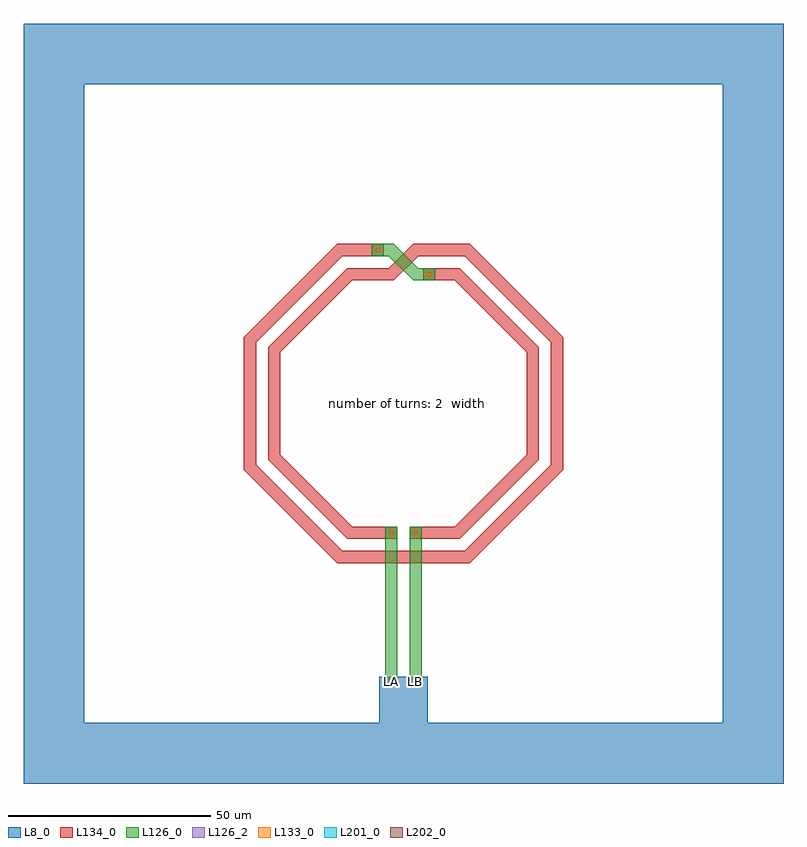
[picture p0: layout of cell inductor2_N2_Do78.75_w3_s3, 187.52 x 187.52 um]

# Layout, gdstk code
import gdstk
lib = gdstk.Library(unit=1e-6, precision=1e-09)
def R(c, l, rs):  # rectangles x0, y0, x1, y1
    for r in rs: c.add(gdstk.rectangle(r[:2], r[2:], *l))
def P(c, l, *ps):  # polygons
    for p in ps: c.add(gdstk.Polygon(p, *l))
L8_0 = (8, 0)
L126_0 = (126, 0)
L126_2 = (126, 2)
L133_0 = (133, 0)
L134_0 = (134, 0)
L201_0 = (201, 0)
L202_0 = (202, 0)

inductor2_n2_do78_75_w3_ = lib.new_cell('inductor2_N2_Do78.75_w3_s3')
R(inductor2_n2_do78_75_w3_, L8_0, [(-93.76,-93.76,-78.76,93.76), (-78.76,-93.76,78.76,-78.76), (78.76,-93.76,93.76,93.76), (-6,-78.76,6,-67.38), (-78.76,78.76,78.76,93.76)])
R(inductor2_n2_do78_75_w3_, L126_0, [(-4.5,-69.38,-1.5,-30.38), (1.5,-69.38,4.5,-30.38)])
P(inductor2_n2_do78_75_w3_, L126_0, [(-7.86,39.38),(-7.86,36.38),(-3.621,36.38),(2.379,30.38),(7.86,30.38),(7.86,33.38),(3.621,33.38),(-2.379,39.38)])
R(inductor2_n2_do78_75_w3_, L126_2, [(-4.5,-69.38,-1.5,-67.88), (1.5,-69.38,4.5,-67.88)])
R(inductor2_n2_do78_75_w3_, L133_0, [(-3.45,-32.33,-2.55,-31.43), (2.55,-32.33,3.45,-31.43), (5.92,31.43,6.82,32.33), (-6.82,37.43,-5.92,38.33)])
R(inductor2_n2_do78_75_w3_, L134_0, [(-7.865,-39.38,7.865,-36.38)])
P(inductor2_n2_do78_75_w3_, L134_0, [(-4.86,-39.38),(-4.86,-36.38),(-15.069,-36.38),(-36.38,-15.069),(-36.38,3),(-39.38,3),(-39.38,-16.311),(-16.311,-39.38)],
  [(-4.86,36.38),(-4.86,39.38),(-16.311,39.38),(-39.38,16.311),(-39.38,-3),(-36.38,-3),(-36.38,15.069),(-15.069,36.38)],
  [(4.86,-36.38),(4.86,-39.38),(16.311,-39.38),(39.38,-16.311),(39.38,3),(36.38,3),(36.38,-15.069),(15.069,-36.38)],
  [(4.86,39.38),(4.86,36.38),(15.069,36.38),(36.38,15.069),(36.38,-3),(39.38,-3),(39.38,16.311),(16.311,39.38)],
  [(-1.5,-33.38),(-1.5,-30.38),(-12.589,-30.38),(-30.38,-12.589),(-30.38,3),(-33.38,3),(-33.38,-13.831),(-13.831,-33.38)],
  [(-4.86,30.38),(-4.86,33.38),(-13.831,33.38),(-33.38,13.831),(-33.38,-3),(-30.38,-3),(-30.38,12.589),(-12.589,30.38)],
  [(1.5,-30.38),(1.5,-33.38),(13.831,-33.38),(33.38,-13.831),(33.38,3),(30.38,3),(30.38,-12.589),(12.589,-30.38)],
  [(4.86,33.38),(4.86,30.38),(12.589,30.38),(30.38,12.589),(30.38,-3),(33.38,-3),(33.38,13.831),(13.831,33.38)],
  [(-7.86,33.38),(-7.86,30.38),(-2.379,30.38),(3.621,36.38),(7.86,36.38),(7.86,39.38),(2.379,39.38),(-3.621,33.38)])
R(inductor2_n2_do78_75_w3_, L201_0, [(-4.5,-69.38,-1.5,-69.28)])
R(inductor2_n2_do78_75_w3_, L202_0, [(1.5,-69.38,4.5,-69.28)])
inductor2_n2_do78_75_w3_.add(gdstk.Label('LA', (-3,-68.63), layer=27, texttype=25))
inductor2_n2_do78_75_w3_.add(gdstk.Label('LB', (3,-68.63), layer=27, texttype=25))
inductor2_n2_do78_75_w3_.add(gdstk.Label('  number of turns: 2\n  width: 3.00\n  spacing: 3.00\n  outer diameter: 78.76\n  inner diameter: 60.76\n', (0,0), layer=63, texttype=0))

lib.write_gds('inductor2_N2_Do78.75_w3_s3.gds')
